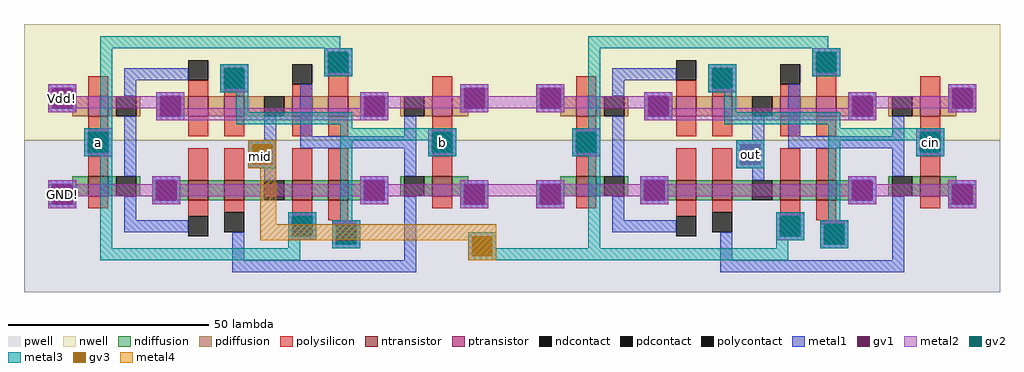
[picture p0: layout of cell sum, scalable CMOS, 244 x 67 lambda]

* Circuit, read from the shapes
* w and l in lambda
.subckt sum GND! Vdd! a b cin mid out
M1 n1 a GND! VSUBS nfet w=5 l=5
M2 n2 n1 GND! VSUBS nfet w=5 l=5
M3 mid n3 n2 VSUBS nfet w=5 l=5
M4 n4 a mid VSUBS nfet w=5 l=5
M5 GND! b n4 VSUBS nfet w=5 l=5
M6 GND! b n3 VSUBS nfet w=5 l=5
M7 n5 mid GND! VSUBS nfet w=5 l=5
M8 n6 n5 GND! VSUBS nfet w=5 l=5
M9 out n7 n6 VSUBS nfet w=5 l=5
M10 n8 mid out VSUBS nfet w=5 l=5
M11 GND! cin n8 VSUBS nfet w=5 l=5
M12 GND! cin n7 VSUBS nfet w=5 l=5
M13 n1 a Vdd! n9 pfet w=5 l=5
M14 n10 n1 Vdd! n9 pfet w=5 l=5
M15 mid b n10 n9 pfet w=5 l=5
M16 n11 n3 mid n9 pfet w=5 l=5
M17 Vdd! a n11 n9 pfet w=5 l=5
M18 Vdd! b n3 n9 pfet w=5 l=5
M19 n5 mid Vdd! n9 pfet w=5 l=5
M20 n12 n5 Vdd! n9 pfet w=5 l=5
M21 out cin n12 n9 pfet w=5 l=5
M22 n13 n7 out n9 pfet w=5 l=5
M23 Vdd! mid n13 n9 pfet w=5 l=5
M24 Vdd! cin n7 n9 pfet w=5 l=5
.ends

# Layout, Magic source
magic
tech scmos
<< pwell >>
rect 99 15 107 17
rect 107 10 112 11
rect 101 8 112 10
rect 101 0 122 8
rect 224 0 233 6
<< metal2 >>
rect -5 45 2 52
rect 97 46 132 49
rect 4 34 11 41
rect 90 34 97 41
rect 167 31 174 38
rect -5 21 2 28
rect 96 24 131 27
<< metal3 >>
rect 4 34 11 41
rect 45 31 52 38
rect 90 34 97 41
rect 212 34 219 41
rect 100 11 107 15
rect 100 8 134 11
<< gv2 >>
rect 46 32 51 37
<< metal4 >>
rect 45 31 52 38
rect 48 17 52 31
rect 48 13 107 17
rect 100 8 107 13
<< gv3 >>
rect 46 32 51 37
rect 101 9 106 14
use xor2  xor2_1
transform 1 0 152 0 1 44
box -41 -44 81 23
use xor2  xor2_0
transform 1 0 30 0 1 44
box -41 -44 81 23
<< labels >>
rlabel metal3 7 37 8 38 1 a
rlabel metal3 93 37 94 38 1 b
rlabel metal3 215 37 216 38 1 cin
rlabel metal2 170 34 171 35 1 out
rlabel metal2 -2 48 -1 49 1 Vdd!
rlabel metal2 -2 24 -1 25 1 GND!
rlabel gv2 47 33 49 35 1 mid
<< end >>

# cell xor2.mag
magic
tech scmos
<< nwell >>
rect -41 -6 81 23
<< pwell >>
rect -41 -42 81 -6
rect -41 -44 76 -42
<< ntransistor >>
rect -25 -20 -20 -15
rect 0 -21 5 -16
rect 9 -21 14 -16
rect 26 -21 31 -16
rect 35 -21 40 -16
rect 61 -20 66 -15
<< ptransistor >>
rect -25 0 -20 5
rect 0 0 5 5
rect 9 0 14 5
rect 26 0 31 5
rect 35 0 40 5
rect 61 0 66 5
<< ndiffusion >>
rect -35 -22 -34 -17
rect -29 -20 -25 -15
rect -20 -20 -18 -15
rect -13 -20 -12 -15
rect -29 -22 -28 -20
rect -9 -21 -8 -16
rect -3 -21 0 -16
rect 5 -21 9 -16
rect 14 -21 19 -16
rect 24 -21 26 -16
rect 31 -21 35 -16
rect 40 -21 44 -16
rect 53 -20 54 -15
rect 59 -20 61 -15
rect 66 -17 70 -15
rect 66 -20 69 -17
rect 68 -22 69 -20
rect 74 -22 75 -17
<< pdiffusion >>
rect -35 2 -34 7
rect -29 5 -28 7
rect 68 5 69 7
rect -29 0 -25 5
rect -20 0 -18 5
rect -13 0 -12 5
rect -8 0 -7 5
rect -2 0 0 5
rect 5 0 9 5
rect 14 0 19 5
rect 24 0 26 5
rect 31 0 35 5
rect 40 0 44 5
rect 49 0 50 5
rect 53 0 54 5
rect 59 0 61 5
rect 66 2 69 5
rect 74 2 75 7
rect 66 0 70 2
<< ndcontact >>
rect -34 -22 -29 -17
rect -18 -20 -13 -15
rect -8 -21 -3 -16
rect 19 -21 24 -16
rect 44 -21 49 -16
rect 54 -20 59 -15
rect 69 -22 74 -17
<< pdcontact >>
rect -34 2 -29 7
rect -18 0 -13 5
rect -7 0 -2 5
rect 19 0 24 5
rect 44 0 49 5
rect 54 0 59 5
rect 69 2 74 7
<< polysilicon >>
rect -25 5 -20 10
rect 0 5 5 9
rect 9 5 14 7
rect 26 5 31 8
rect 35 5 40 11
rect 61 5 66 10
rect -25 -4 -20 0
rect 0 -5 5 0
rect 9 -5 14 0
rect 26 -5 31 0
rect 35 -5 40 0
rect 61 -4 66 0
rect -25 -15 -20 -9
rect 0 -16 5 -8
rect 9 -16 14 -8
rect 26 -16 31 -8
rect 35 -16 40 -8
rect 61 -15 66 -9
rect -25 -23 -20 -20
rect 0 -25 5 -21
rect 9 -24 14 -21
rect 26 -25 31 -21
rect 35 -26 40 -21
rect 61 -23 66 -20
rect 36 -27 42 -26
<< polycontact >>
rect 0 9 5 14
rect 9 7 14 12
rect 26 8 31 13
rect 35 11 40 16
rect -25 -9 -20 -4
rect 61 -9 66 -4
rect 0 -30 5 -25
rect 9 -29 14 -24
rect 26 -30 31 -25
rect 37 -32 42 -27
<< metal1 >>
rect 34 16 41 17
rect -16 9 0 12
rect 8 12 15 13
rect -35 7 -28 8
rect -35 2 -34 7
rect -29 2 -28 7
rect -16 5 -13 9
rect 8 7 9 12
rect 14 7 15 12
rect 34 11 35 16
rect 40 11 41 16
rect 34 10 41 11
rect 8 6 15 7
rect -35 1 -28 2
rect -26 -4 -19 -3
rect -26 -9 -25 -4
rect -20 -9 -19 -4
rect -26 -10 -19 -9
rect -16 -15 -13 0
rect -8 5 -1 6
rect -8 0 -7 5
rect -2 0 -1 5
rect -8 -1 -1 0
rect 19 -6 22 0
rect 15 -13 22 -6
rect 28 -5 31 8
rect 68 7 75 8
rect 43 5 50 6
rect 43 0 44 5
rect 49 0 50 5
rect 43 -1 50 0
rect 68 2 69 7
rect 74 2 75 7
rect 68 1 75 2
rect 54 -5 57 0
rect 28 -8 57 -5
rect -35 -17 -28 -16
rect -35 -22 -34 -17
rect -29 -22 -28 -17
rect -35 -23 -28 -22
rect -16 -26 -13 -20
rect -9 -16 -2 -15
rect -9 -21 -8 -16
rect -3 -21 -2 -16
rect 19 -16 22 -13
rect 54 -15 57 -8
rect 60 -4 67 -3
rect 60 -9 61 -4
rect 66 -9 67 -4
rect 60 -10 67 -9
rect 43 -16 50 -15
rect 43 -21 44 -16
rect 49 -21 50 -16
rect -9 -22 -2 -21
rect 43 -22 50 -21
rect 68 -17 75 -16
rect -16 -29 0 -26
rect 11 -36 14 -29
rect 25 -25 32 -24
rect 25 -30 26 -25
rect 31 -30 32 -25
rect 25 -31 32 -30
rect 36 -27 43 -26
rect 36 -32 37 -27
rect 42 -32 43 -27
rect 36 -33 43 -32
rect 54 -36 57 -20
rect 68 -22 69 -17
rect 74 -22 75 -17
rect 68 -23 75 -22
rect 11 -39 57 -36
<< metal2 >>
rect -35 5 -28 8
rect 8 6 15 13
rect 34 10 41 17
rect -8 5 -1 6
rect -35 2 -1 5
rect 43 5 50 6
rect 68 5 75 8
rect 43 2 75 5
rect -35 1 -28 2
rect -8 -1 50 2
rect 68 1 75 2
rect -26 -10 -19 -3
rect 15 -13 22 -6
rect 60 -10 67 -3
rect -35 -17 -28 -16
rect -9 -17 -2 -15
rect 43 -17 50 -15
rect 68 -17 75 -16
rect -35 -20 75 -17
rect -35 -23 -28 -20
rect -9 -22 -2 -20
rect 43 -22 50 -20
rect 68 -23 75 -20
rect 25 -31 32 -24
rect 36 -33 43 -26
<< gv1 >>
rect 9 7 14 12
rect 35 11 40 16
rect -34 2 -29 7
rect -7 0 -2 5
rect 44 0 49 5
rect 69 2 74 7
rect -25 -9 -20 -4
rect 16 -12 21 -7
rect 61 -9 66 -4
rect -34 -22 -29 -17
rect -8 -21 -3 -16
rect 44 -21 49 -16
rect 69 -22 74 -17
rect 26 -30 31 -25
rect 37 -32 42 -27
<< metal3 >>
rect -22 17 38 20
rect -22 -3 -19 17
rect 8 6 15 13
rect 34 10 41 17
rect 12 1 15 6
rect 12 -2 41 1
rect -26 -10 -19 -3
rect 38 -3 41 -2
rect 38 -6 67 -3
rect -22 -33 -19 -10
rect 15 -13 22 -6
rect 25 -31 32 -24
rect 38 -26 41 -6
rect 60 -10 67 -6
rect 25 -33 28 -31
rect 36 -33 43 -26
rect -22 -36 28 -33
<< gv2 >>
rect 9 7 14 12
rect 35 11 40 16
rect -25 -9 -20 -4
rect 61 -9 66 -4
rect 26 -30 31 -25
rect 37 -32 42 -27
<< labels >>
rlabel gv2 63 -7 64 -6 1 b
rlabel metal1 20 -9 21 -8 1 out
rlabel gv2 -23 -7 -22 -6 1 a
rlabel gv1 -32 4 -31 5 1 Vdd!
rlabel gv1 -32 -20 -31 -19 1 GND!
<< end >>
